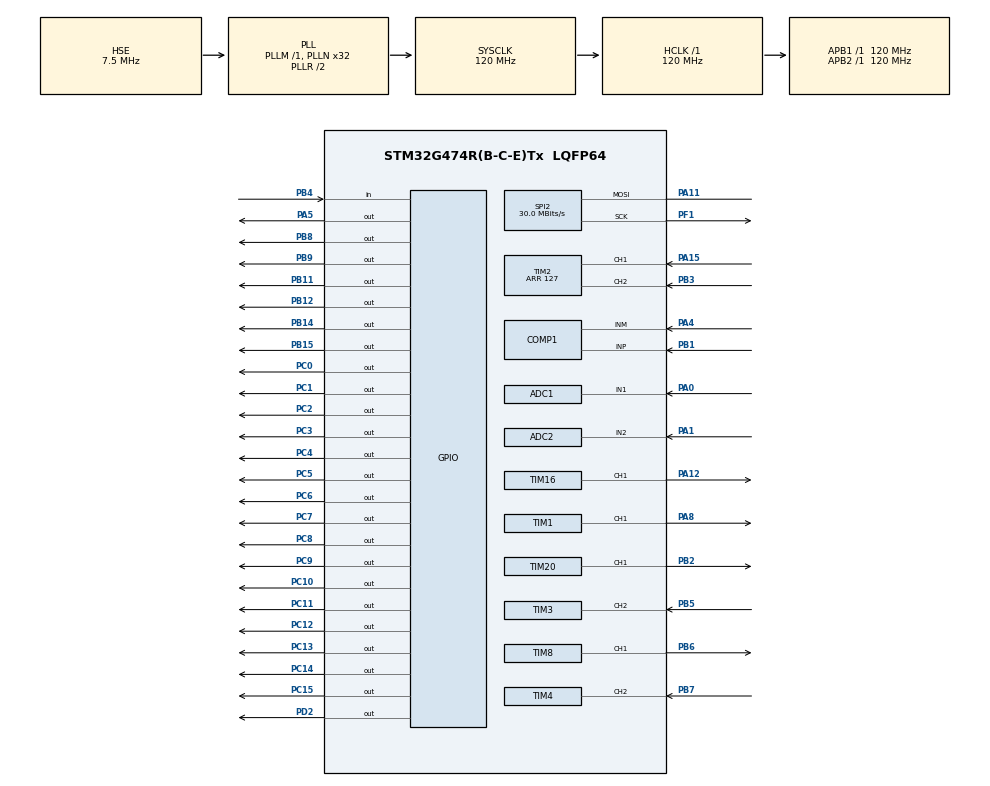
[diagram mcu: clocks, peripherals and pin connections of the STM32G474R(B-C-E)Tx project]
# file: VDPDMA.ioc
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ADC1.Channel-0\#ChannelRegularConversion=ADC_CHANNEL_1
ADC1.ClockPrescaler=ADC_CLOCK_SYNC_PCLK_DIV2
ADC1.ContinuousConvMode=DISABLE
ADC1.DMAAccessModeView=ENABLE
ADC1.DMAContinuousRequests=ENABLE
ADC1.EnableInjectedConversion=DISABLE
ADC1.ExternalTrigConv=ADC_EXTERNALTRIG_T1_CC1
ADC1.Mode=ADC_DUALMODE_REGSIMULT
ADC1.NbrOfConversion=1
ADC1.NbrOfConversionFlag=1
ADC1.OffsetNumber-0\#ChannelRegularConversion=ADC_OFFSET_NONE
ADC1.Overrun=ADC_OVR_DATA_OVERWRITTEN
ADC1.Rank-0\#ChannelRegularConversion=1
ADC1.Resolution=ADC_RESOLUTION_8B
ADC1.SamplingTime-0\#ChannelRegularConversion=ADC_SAMPLETIME_6CYCLES_5
ADC1.TwoSamplingDelay=ADC_TWOSAMPLINGDELAY_1CYCLE
ADC1.master=1
ADC2.Channel-0\#ChannelRegularConversion=ADC_CHANNEL_2
ADC2.DMAAccessModeView=ENABLE
ADC2.Mode=ADC_DUALMODE_REGSIMULT
ADC2.NbrOfConversionFlag=1
ADC2.OffsetNumber-0\#ChannelRegularConversion=ADC_OFFSET_NONE
ADC2.Rank-0\#ChannelRegularConversion=1
ADC2.Resolution=ADC_RESOLUTION_8B
ADC2.SamplingTime-0\#ChannelRegularConversion=ADC_SAMPLETIME_6CYCLES_5
COMP1.Hysteresis=COMP_HYSTERESIS_70MV
Dma.ADC1.0.Direction=DMA_PERIPH_TO_MEMORY
Dma.ADC1.0.EventEnable=DISABLE
Dma.ADC1.0.Instance=DMA1_Channel1
Dma.ADC1.0.MemDataAlignment=DMA_MDATAALIGN_HALFWORD
Dma.ADC1.0.MemInc=DMA_MINC_ENABLE
Dma.ADC1.0.Mode=DMA_CIRCULAR
Dma.ADC1.0.PeriphDataAlignment=DMA_PDATAALIGN_HALFWORD
Dma.ADC1.0.PeriphInc=DMA_PINC_DISABLE
Dma.ADC1.0.Polarity=HAL_DMAMUX_REQ_GEN_RISING
Dma.ADC1.0.Priority=DMA_PRIORITY_VERY_HIGH
Dma.ADC1.0.RequestNumber=1
Dma.ADC1.0.SignalID=NONE
Dma.ADC1.0.SyncEnable=ENABLE
Dma.ADC1.0.SyncPolarity=HAL_DMAMUX_SYNC_RISING
Dma.ADC1.0.SyncRequestNumber=1
Dma.ADC1.0.SyncSignalID=NONE
Dma.Request0=ADC1
Dma.Request1=TIM20_CH1
Dma.Request2=SPI2_TX
Dma.SPI2_TX.2.Direction=DMA_MEMORY_TO_PERIPH
Dma.SPI2_TX.2.EventEnable=DISABLE
Dma.SPI2_TX.2.Instance=DMA1_Channel2
Dma.SPI2_TX.2.MemDataAlignment=DMA_MDATAALIGN_BYTE
Dma.SPI2_TX.2.MemInc=DMA_MINC_ENABLE
Dma.SPI2_TX.2.Mode=DMA_NORMAL
Dma.SPI2_TX.2.PeriphDataAlignment=DMA_PDATAALIGN_BYTE
Dma.SPI2_TX.2.PeriphInc=DMA_PINC_DISABLE
Dma.SPI2_TX.2.Polarity=HAL_DMAMUX_REQ_GEN_RISING
Dma.SPI2_TX.2.Priority=DMA_PRIORITY_HIGH
Dma.SPI2_TX.2.RequestNumber=1
Dma.SPI2_TX.2.SignalID=NONE
Dma.SPI2_TX.2.SyncEnable=DISABLE
Dma.SPI2_TX.2.SyncPolarity=HAL_DMAMUX_SYNC_NO_EVENT
Dma.SPI2_TX.2.SyncRequestNumber=1
Dma.SPI2_TX.2.SyncSignalID=NONE
Dma.TIM20_CH1.1.Direction=DMA_MEMORY_TO_PERIPH
Dma.TIM20_CH1.1.EventEnable=DISABLE
Dma.TIM20_CH1.1.Instance=DMA2_Channel1
Dma.TIM20_CH1.1.MemDataAlignment=DMA_MDATAALIGN_HALFWORD
Dma.TIM20_CH1.1.MemInc=DMA_MINC_ENABLE
Dma.TIM20_CH1.1.Mode=DMA_NORMAL
Dma.TIM20_CH1.1.PeriphDataAlignment=DMA_PDATAALIGN_HALFWORD
Dma.TIM20_CH1.1.PeriphInc=DMA_PINC_DISABLE
Dma.TIM20_CH1.1.Polarity=HAL_DMAMUX_REQ_GEN_RISING
Dma.TIM20_CH1.1.Priority=DMA_PRIORITY_HIGH
Dma.TIM20_CH1.1.RequestNumber=1
Dma.TIM20_CH1.1.SignalID=NONE
Dma.TIM20_CH1.1.SyncEnable=DISABLE
Dma.TIM20_CH1.1.SyncPolarity=HAL_DMAMUX_SYNC_NO_EVENT
Dma.TIM20_CH1.1.SyncRequestNumber=1
Dma.TIM20_CH1.1.SyncSignalID=NONE
Mcu.Family=STM32G4
Mcu.Name=STM32G474R(B-C-E)Tx
Mcu.Package=LQFP64
NVIC.DMA1_Channel1_IRQn=true\:0\:0\:true\:false\:true\:false\:true\:true
NVIC.DMA1_Channel2_IRQn=true\:0\:0\:false\:false\:true\:false\:true\:true
NVIC.DMA2_Channel1_IRQn=true\:0\:0\:false\:false\:true\:false\:true\:true
NVIC.DMAMUX_OVR_IRQn=true\:0\:0\:false\:false\:true\:false\:true\:true
NVIC.PriorityGroup=NVIC_PRIORITYGROUP_4
NVIC.TIM1_TRG_COM_TIM17_IRQn=true\:0\:0\:false\:false\:true\:false\:true\:true
NVIC.TIM2_IRQn=true\:0\:0\:false\:false\:true\:true\:true\:true
NVIC.TIM3_IRQn=true\:0\:0\:false\:false\:true\:true\:true\:true
PA0.Mode=IN1-Single-Ended
PA0.Signal=ADC1_IN1
PA1.Mode=IN2-Single-Ended
PA1.Signal=ADC2_IN2
PA11.GPIO_Speed=GPIO_SPEED_FREQ_HIGH
PA11.Mode=Simplex_Bidirectional_Master
PA11.Signal=SPI2_MOSI
PA12.Signal=S_TIM16_CH1
PA15.GPIO_PuPd=GPIO_PULLUP
PA15.Signal=S_TIM2_CH1
PA4.Mode=INM
PA4.Signal=COMP1_INM
PA5.GPIO_ModeDefaultOutputPP=GPIO_MODE_OUTPUT_PP
PA5.GPIO_PuPd=GPIO_NOPULL
PA5.GPIO_Speed=GPIO_SPEED_FREQ_MEDIUM
PA5.PinState=GPIO_PIN_RESET
PA5.Signal=GPIO_Output
PA6.Signal=COMP1_OUT
PA8.Signal=S_TIM1_CH1
PA9.Signal=S_TIM1_CH2
PB1.Mode=INP
PB1.Signal=COMP1_INP
PB11.GPIO_ModeDefaultOutputPP=GPIO_MODE_OUTPUT_PP
PB11.GPIO_PuPd=GPIO_NOPULL
PB11.GPIO_Speed=GPIO_SPEED_FREQ_LOW
PB11.PinState=GPIO_PIN_SET
PB11.Signal=GPIO_Output
PB12.GPIO_ModeDefaultOutputPP=GPIO_MODE_OUTPUT_PP
PB12.GPIO_PuPd=GPIO_NOPULL
PB12.GPIO_Speed=GPIO_SPEED_FREQ_LOW
PB12.PinState=GPIO_PIN_SET
PB12.Signal=GPIO_Output
PB14.GPIO_ModeDefaultOutputPP=GPIO_MODE_OUTPUT_PP
PB14.GPIO_PuPd=GPIO_NOPULL
PB14.GPIO_Speed=GPIO_SPEED_FREQ_LOW
PB14.PinState=GPIO_PIN_SET
PB14.Signal=GPIO_Output
PB15.GPIO_ModeDefaultOutputPP=GPIO_MODE_OUTPUT_PP
PB15.GPIO_PuPd=GPIO_NOPULL
PB15.GPIO_Speed=GPIO_SPEED_FREQ_LOW
PB15.PinState=GPIO_PIN_SET
PB15.Signal=GPIO_Output
PB2.GPIO_ModeDefaultPP=GPIO_MODE_AF_PP
PB2.GPIO_PuPd=GPIO_NOPULL
PB2.GPIO_Speed=GPIO_SPEED_FREQ_HIGH
PB2.Mode=PWM Generation1 CH1
PB2.Signal=TIM20_CH1
PB3.GPIO_PuPd=GPIO_PULLUP
PB3.Signal=S_TIM2_CH2
PB4.GPIO_PuPd=GPIO_PULLUP
PB4.Signal=GPIO_Input
PB5.Signal=S_TIM3_CH2
PB6.Signal=S_TIM8_CH1
PB7.Signal=S_TIM4_CH2
PB8-BOOT0.GPIO_Speed=GPIO_SPEED_FREQ_VERY_HIGH
PB8-BOOT0.Signal=GPIO_Output
PB9.GPIO_FM9=SYSCFG_FASTMODEPLUS_PB9
PB9.GPIO_Speed=GPIO_SPEED_FREQ_VERY_HIGH
PB9.PinState=GPIO_PIN_SET
PB9.Signal=GPIO_Output
PC0.GPIO_ModeDefaultOutputPP=GPIO_MODE_OUTPUT_PP
PC0.GPIO_PuPd=GPIO_NOPULL
PC0.GPIO_Speed=GPIO_SPEED_FREQ_LOW
PC0.PinState=GPIO_PIN_RESET
PC0.Signal=GPIO_Output
PC1.GPIO_ModeDefaultOutputPP=GPIO_MODE_OUTPUT_PP
PC1.GPIO_PuPd=GPIO_NOPULL
PC1.GPIO_Speed=GPIO_SPEED_FREQ_LOW
PC1.PinState=GPIO_PIN_RESET
PC1.Signal=GPIO_Output
PC10.GPIO_ModeDefaultOutputPP=GPIO_MODE_OUTPUT_PP
PC10.GPIO_PuPd=GPIO_NOPULL
PC10.GPIO_Speed=GPIO_SPEED_FREQ_LOW
PC10.PinState=GPIO_PIN_RESET
PC10.Signal=GPIO_Output
PC11.GPIO_ModeDefaultOutputPP=GPIO_MODE_OUTPUT_PP
PC11.GPIO_PuPd=GPIO_NOPULL
PC11.GPIO_Speed=GPIO_SPEED_FREQ_LOW
PC11.PinState=GPIO_PIN_RESET
PC11.Signal=GPIO_Output
PC12.GPIO_ModeDefaultOutputPP=GPIO_MODE_OUTPUT_PP
PC12.GPIO_PuPd=GPIO_NOPULL
PC12.GPIO_Speed=GPIO_SPEED_FREQ_LOW
PC12.PinState=GPIO_PIN_RESET
PC12.Signal=GPIO_Output
PC13.GPIO_ModeDefaultOutputPP=GPIO_MODE_OUTPUT_PP
PC13.GPIO_PuPd=GPIO_NOPULL
PC13.GPIO_Speed=GPIO_SPEED_FREQ_LOW
PC13.PinState=GPIO_PIN_RESET
PC13.Signal=GPIO_Output
PC14-OSC32_IN.Signal=GPIO_Output
PC15-OSC32_OUT.GPIO_ModeDefaultOutputPP=GPIO_MODE_OUTPUT_PP
PC15-OSC32_OUT.GPIO_PuPd=GPIO_NOPULL
PC15-OSC32_OUT.GPIO_Speed=GPIO_SPEED_FREQ_LOW
PC15-OSC32_OUT.PinState=GPIO_PIN_RESET
PC15-OSC32_OUT.Signal=GPIO_Output
PC2.GPIO_ModeDefaultOutputPP=GPIO_MODE_OUTPUT_PP
PC2.GPIO_PuPd=GPIO_NOPULL
PC2.GPIO_Speed=GPIO_SPEED_FREQ_LOW
PC2.PinState=GPIO_PIN_RESET
PC2.Signal=GPIO_Output
PC3.GPIO_ModeDefaultOutputPP=GPIO_MODE_OUTPUT_PP
PC3.GPIO_PuPd=GPIO_NOPULL
PC3.GPIO_Speed=GPIO_SPEED_FREQ_LOW
PC3.PinState=GPIO_PIN_RESET
PC3.Signal=GPIO_Output
PC4.GPIO_ModeDefaultOutputPP=GPIO_MODE_OUTPUT_PP
PC4.GPIO_PuPd=GPIO_NOPULL
PC4.GPIO_Speed=GPIO_SPEED_FREQ_LOW
PC4.PinState=GPIO_PIN_RESET
PC4.Signal=GPIO_Output
PC5.GPIO_ModeDefaultOutputPP=GPIO_MODE_OUTPUT_PP
PC5.GPIO_PuPd=GPIO_NOPULL
PC5.GPIO_Speed=GPIO_SPEED_FREQ_LOW
PC5.PinState=GPIO_PIN_RESET
PC5.Signal=GPIO_Output
PC6.GPIO_ModeDefaultOutputPP=GPIO_MODE_OUTPUT_PP
PC6.GPIO_PuPd=GPIO_NOPULL
PC6.GPIO_Speed=GPIO_SPEED_FREQ_LOW
PC6.PinState=GPIO_PIN_RESET
PC6.Signal=GPIO_Output
PC7.GPIO_ModeDefaultOutputPP=GPIO_MODE_OUTPUT_PP
PC7.GPIO_PuPd=GPIO_NOPULL
PC7.GPIO_Speed=GPIO_SPEED_FREQ_LOW
PC7.PinState=GPIO_PIN_RESET
PC7.Signal=GPIO_Output
PC8.GPIO_ModeDefaultOutputPP=GPIO_MODE_OUTPUT_PP
PC8.GPIO_PuPd=GPIO_NOPULL
PC8.GPIO_Speed=GPIO_SPEED_FREQ_LOW
PC8.PinState=GPIO_PIN_RESET
PC8.Signal=GPIO_Output
PC9.GPIO_ModeDefaultOutputPP=GPIO_MODE_OUTPUT_PP
PC9.GPIO_PuPd=GPIO_NOPULL
PC9.GPIO_Speed=GPIO_SPEED_FREQ_LOW
PC9.PinState=GPIO_PIN_RESET
PC9.Signal=GPIO_Output
PD2.PinState=GPIO_PIN_SET
PD2.Signal=GPIO_Output
PF0-OSC_IN.Mode=HSE-External-Clock-Source
PF0-OSC_IN.Signal=RCC_OSC_IN
PF1-OSC_OUT.GPIO_Speed=GPIO_SPEED_FREQ_HIGH
PF1-OSC_OUT.Mode=Simplex_Bidirectional_Master
PF1-OSC_OUT.Signal=SPI2_SCK
ProjectManager.HeapSize=0x200
ProjectManager.StackSize=0x400
ProjectManager.TargetToolchain=STM32CubeIDE
RCC.ADC12CLockSelection=RCC_ADC12CLKSOURCE_PLL
RCC.ADC12Freq_Value=60000000
RCC.ADC345Freq_Value=120000000
RCC.AHBFreq_Value=120000000
RCC.APB1Freq_Value=120000000
RCC.APB1TimFreq_Value=120000000
RCC.APB2Freq_Value=120000000
RCC.APB2TimFreq_Value=120000000
RCC.CortexFreq_Value=120000000
RCC.EXTERNAL_CLOCK_VALUE=12288000
RCC.EnbaleCSS=true
RCC.HCLKFreq_Value=120000000
RCC.HSE_VALUE=7500000
RCC.HSI48_VALUE=48000000
RCC.HSI_VALUE=16000000
RCC.LSE_VALUE=32768
RCC.PLLN=32
RCC.PLLP=RCC_PLLP_DIV4
RCC.PLLSourceVirtual=RCC_PLLSOURCE_HSE
RCC.PREFETCH_ENABLE=1
RCC.SYSCLKFreq_VALUE=120000000
RCC.SYSCLKSource=RCC_SYSCLKSOURCE_PLLCLK
RCC.USBFreq_Value=120000000
RCC.VCOOutputFreq_Value=240000000
SH.S_TIM16_CH1.0=TIM16_CH1,PWM Generation1 CH1
SH.S_TIM1_CH1.0=TIM1_CH1,PWM Generation1 CH1
SH.S_TIM1_CH2.0=TIM1_CH2
SH.S_TIM2_CH1.0=TIM2_CH1,Encoder_Interface
SH.S_TIM2_CH2.0=TIM2_CH2,Encoder_Interface
SH.S_TIM3_CH2.0=TIM3_CH2,TriggerSource_TI2FP2
SH.S_TIM4_CH2.0=TIM4_CH2,TriggerSource_TI2FP2
SH.S_TIM8_CH1.0=TIM8_CH1,PWM Generation1 CH1
SPI2.BaudRatePrescaler=SPI_BAUDRATEPRESCALER_4
SPI2.CalculateBaudRate=30.0 MBits/s
SPI2.DataSize=SPI_DATASIZE_8BIT
SPI2.Direction=SPI_DIRECTION_1LINE
SPI2.Mode=SPI_MODE_MASTER
SPI2.VirtualType=VM_MASTER
SYS.VoltageScaling=SYSCFG_VREFBUF_VOLTAGE_SCALE2
TIM1.AutoReloadPreload=TIM_AUTORELOAD_PRELOAD_ENABLE
TIM1.Channel-PWM\ Generation1\ CH1=TIM_CHANNEL_1
TIM1.OCMode_PWM-PWM\ Generation1\ CH1=TIM_OCMODE_PWM2
TIM1.PeriodNoDither=31
TIM1.PulseNoDither_1=15
TIM1.RepetitionCounter=255
TIM1.TIM_MasterOutputTrigger=TIM_TRGO_RESET
TIM16.AutoReloadPreload=TIM_AUTORELOAD_PRELOAD_ENABLE
TIM16.Channel=TIM_CHANNEL_1
TIM16.OCMode_PWM=TIM_OCMODE_PWM2
TIM16.PeriodNoDither=260
TIM16.Prescaler=170
TIM16.PulseNoDither_1=130
TIM16.RepetitionCounter=191
TIM2.PeriodNoDither=127
TIM2.TIM_MasterOutputTrigger=TIM_TRGO_RESET
TIM20.Channel-PWM\ Generation1\ CH1=TIM_CHANNEL_1
TIM20.OCIdleState_1=TIM_OCIDLESTATE_RESET
TIM20.OCMode_PWM-PWM\ Generation1\ CH1=TIM_OCMODE_PWM2
TIM20.OCPolarity_1=TIM_OCPOLARITY_LOW
TIM20.PeriodNoDither=17
TIM20.PulseNoDither_1=8
TIM20.RepetitionCounter=255
TIM20.TIM_MasterOutputTrigger=TIM_TRGO_OC1
TIM3.Channel-Input_Capture2_from_TI2_Remap_TIM3=TIM_CHANNEL_2
TIM3.Channel-PWM\ Generation1\ No\ Output=TIM_CHANNEL_1
TIM3.ICPolarity_CH2=TIM_INPUTCHANNELPOLARITY_FALLING
TIM3.OCMode_PWM-PWM\ Generation1\ No\ Output=TIM_OCMODE_PWM2
TIM3.PulseNoDither_1=12000
TIM3.TIM3_TI2_REMAP-Input_Capture2_from_TI2_Remap_TIM3=TIM_TIM3_TI2_COMP1
TIM4.Channel-Input_Capture2_from_TI2_Remap_TIM4=TIM_CHANNEL_2
TIM4.Channel-PWM\ Generation1\ No\ Output=TIM_CHANNEL_1
TIM4.ICFilter_CH2=0
TIM4.ICPolarity_CH2=TIM_INPUTCHANNELPOLARITY_RISING
TIM4.OCFastMode_PWM-PWM\ Generation1\ No\ Output=TIM_OCFAST_DISABLE
TIM4.OCMode_PWM-PWM\ Generation1\ No\ Output=TIM_OCMODE_PWM2
TIM4.PeriodNoDither=3800
TIM4.Prescaler=0
TIM4.PulseNoDither_1=1148
TIM4.TIM4_TI2_REMAP-Input_Capture2_from_TI2_Remap_TIM4=TIM_TIM4_TI2_COMP1
TIM4.TIM_MasterOutputTrigger=TIM_TRGO_OC1REF
TIM5.PeriodNoDither=160
TIM8.Channel-PWM\ Generation1\ CH1=TIM_CHANNEL_1
TIM8.OCMode_PWM-PWM\ Generation1\ CH1=TIM_OCMODE_PWM2
TIM8.PeriodNoDither=258
TIM8.Prescaler=17
TIM8.PulseNoDither_1=150
TIM8.RepetitionCounter=191
TIM8.TIM_MasterOutputTrigger=TIM_TRGO_OC1
VP_TIM16_VS_ClockSourceINT.Mode=Enable_Timer
VP_TIM16_VS_OPM.Mode=OPM_bit
VP_TIM1_VS_ClockSourceINT.Mode=Internal
VP_TIM1_VS_ClockSourceITR.Mode=TriggerSource_ITR3
VP_TIM1_VS_ControllerModeCombinedResetTrigger.Mode=Combined_Reset_Trigger_Mode
VP_TIM1_VS_OPM.Mode=OPM_bit
VP_TIM20_VS_ClockSourceINT.Mode=Internal
VP_TIM20_VS_ClockSourceITR.Mode=TriggerSource_ITR5
VP_TIM20_VS_ControllerModeCombinedResetTrigger.Mode=Combined_Reset_Trigger_Mode
VP_TIM20_VS_OPM.Mode=OPM_bit
VP_TIM3_VS_ControllerModeCombinedResetTrigger.Mode=Combined_Reset_Trigger_Mode
VP_TIM3_VS_NoInput2.Mode=Input_Capture2_from_TI2_Remap_TIM3
VP_TIM3_VS_OPM.Mode=OPM_bit
VP_TIM3_VS_no_output1.Mode=PWM Generation1 No Output
VP_TIM4_VS_ClockSourceINT.Mode=Internal
VP_TIM4_VS_ControllerModeCombinedResetTrigger.Mode=Combined_Reset_Trigger_Mode
VP_TIM4_VS_NoInput2.Mode=Input_Capture2_from_TI2_Remap_TIM4
VP_TIM4_VS_OPM.Mode=OPM_bit
VP_TIM4_VS_no_output1.Mode=PWM Generation1 No Output
VP_TIM5_VS_OPM.Mode=OPM_bit
VP_TIM8_VS_ClockSourceINT.Mode=Internal
VP_TIM8_VS_OPM.Mode=OPM_bit
VREF+.Mode=InternalMode
VREF+.Signal=VREFBUF_OUT
board=custom

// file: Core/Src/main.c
/* USER CODE BEGIN Header */
/**
 ******************************************************************************
 * @file           : main.c
 * @brief          : Main program body
 ******************************************************************************
 * @attention
 *
 * Copyright (c) 2022 STMicroelectronics.
 * All rights reserved.
 *
 * This software is licensed under terms that can be found in the LICENSE file
 * in the root directory of this software component.
 * If no LICENSE file comes with this software, it is provided AS-IS.
 *
 ******************************************************************************
 */
/* USER CODE END Header */
#include "main.h"
#include "adc.h"
#include "comp.h"
#include "dma.h"
#include "spi.h"
#include "tim.h"
#include "gpio.h"

/* USER CODE BEGIN Includes */
#include "vdp.h"
#include "math.h"
/* USER CODE END Includes */

/* USER CODE BEGIN PD */

#define BLANKING_LINES (28 + (260 - 249))
#define FRAME_LINES 261

#define FIRST_VISIBLE_LINE 40
#define VISIBLE_LINES 192
#define LAST_VISIBLE_LINE (FIRST_VISIBLE_LINE + VISIBLE_LINES - 1)
#define BOTTOM_BORDER 32

#define PIXELS_PER_LINE 256

#define RGB_BUF_LEN (VISIBLE_LINES * PIXELS_PER_LINE)
#ifdef PAR_TFT
	#define RGB_BUF_CHUNKS 1
#else
	#define RGB_BUF_CHUNKS 4
#endif

#define RGB_BUF_CHUNK_BYTES (RGB_BUF_LEN / RGB_BUF_CHUNKS * 2)

#define CAPTURE_STATE_SEEKING_SYNC 0
#define CAPTURE_STATE_FOUND_SYNC 1
#define CAPTURE_STATE_START_GRAB 2
#define CAPTURE_STATE_GRABBING 3
#define CAPTURE_STATE_GRABBED 4
#define CAPTURE_STATE_IDLE 5

#define DMA_CAPTURE_STATE_IDLE 0
#define DMA_STATE_START 1
#define DMA_STATE_RUNNING 2
#define DMA_STATE_CHUNK_COMPLETE 3

#define SETUP_STATE_IDLE 0
#define SETUP_STATE_INIT 1
#define SETUP_STATE_SELECT_COLOUR 2
#define SETUP_STATE_INIT_Y 3
#define SETUP_STATE_TUNE_Y 4
#define SETUP_STATE_INIT_RY 5
#define SETUP_STATE_TUNE_RY 6
#define SETUP_STATE_TUNE_SAMPLE_TIME 7
#define SETUP_STATE_CANCEL 8

#define BUTTONEVENT_CLICK 1
#define BUTTON_EVENT_LONG_PRESS 2

/* USER CODE END PD */

void SystemClock_Config(void);
/* USER CODE BEGIN PFP */
extern void mysetup();
extern int mymain(uint16_t);
extern void pushpixel(uint16_t);

/* USER CODE END PFP */

/* USER CODE BEGIN 0 */

volatile uint16_t rgbBuf[RGB_BUF_LEN];
volatile uint32_t rgbBufIdx;
uint8_t rgbBufchunk;

volatile uint32_t adcbuf[512];
volatile uint32_t adc3buf[512];
volatile int16_t line;
volatile uint8_t captureState;
volatile uint8_t frameReady;
volatile uint8_t dmaState;

volatile uint16_t pix;

uint8_t encoderChanged;
uint8_t encoderPosition;
uint8_t lastPressed;
uint32_t encoderButtonChangedTicks;
uint8_t setupColour;

uint8_t raisedClickedEvent;
uint8_t raisedLongPressEvent;

uint8_t encoderClickedEvent;
uint8_t encoderLongPressEvent;

uint8_t setupState;

int _write(int file, char *ptr, int len) {
	int DataIdx;
	for (DataIdx = 0; DataIdx < len; DataIdx++) {
		ITM_SendChar(*ptr++);
	}
	return len;
}

/* USER CODE END 0 */

int main(void)
{

  /* MCU Configuration--------------------------------------------------------*/

  /* Reset of all peripherals, Initializes the Flash interface and the Systick. */
  HAL_Init();

  /* Configure the system clock */
  SystemClock_Config();

  /* Initialize all configured peripherals */
  MX_GPIO_Init();
  MX_DMA_Init();
  MX_TIM8_Init();
  MX_TIM1_Init();
  MX_ADC1_Init();
  MX_ADC2_Init();
  MX_TIM3_Init();
  MX_TIM2_Init();
  MX_TIM4_Init();
  MX_COMP1_Init();
  MX_TIM5_Init();
  MX_TIM16_Init();
  MX_TIM20_Init();
  MX_SPI2_Init();
  /* USER CODE BEGIN 2 */
	GPIOB->MODER = (GPIOB->MODER & 0xFFFFFFCF) | 0x00000010;
	mysetup();

	initBitMap();
	initColorMaps(0.43/0.47, 1.71);

#ifndef PAR_TFT
	swapRGBBytes();
#endif

	HAL_TIM_RegisterCallback(&htim3, HAL_TIM_OC_DELAY_ELAPSED_CB_ID,
			VSyncCallback);

	HAL_SPI_RegisterCallback(&hspi2, HAL_SPI_TX_COMPLETE_CB_ID,
			SPIFullCallback);
	HAL_DMA_RegisterCallback(&hdma_tim20_ch1, HAL_DMA_XFER_CPLT_CB_ID,
			GPIODMAComplete);

	HAL_ADC_RegisterCallback(&hadc1, HAL_ADC_CONVERSION_COMPLETE_CB_ID,
			ADCCallback);
	HAL_ADC_RegisterCallback(&hadc1, HAL_ADC_CONVERSION_HALF_CB_ID,
			ADCCallback);

	HAL_COMP_Start(&hcomp1);
	HAL_TIM_Base_Start(&htim4); // hysnc
	HAL_TIM_Base_Start(&htim1); // sample clock
	HAL_TIM_Base_Start_IT(&htim3); // vsync

	HAL_TIM_Base_Start(&htim8); // Parallel TFT DMA line clock
	HAL_TIM_Base_Start(&htim20); // Parallel TFT DMA pixel clock

	HAL_TIM_Base_Start(&htim2);

	__HAL_TIM_ENABLE_DMA(&htim20, TIM_DMA_CC1);

	if (HAL_TIM_OnePulse_Start(&htim4, TIM_CHANNEL_1) != HAL_OK) {
		/* Starting Error */
		Error_Handler();
	}
	if (HAL_TIM_OnePulse_Start(&htim1, TIM_CHANNEL_1) != HAL_OK) {
		/* Starting Error */
		Error_Handler();
	}
	if (HAL_TIM_OnePulse_Start_IT(&htim3, TIM_CHANNEL_1) != HAL_OK) {
		/* Starting Error */
		Error_Handler();
	}

	if (HAL_TIM_OnePulse_Start_IT(&htim20, TIM_CHANNEL_1) != HAL_OK) {
		/* Starting Error */
		Error_Handler();
	}
	HAL_TIM_OnePulse_Start(&htim8, TIM_CHANNEL_1);

	HAL_TIM_Encoder_Start(&htim2, TIM_CHANNEL_ALL);

	HAL_ADCEx_MultiModeStart_DMA(&hadc1, adcbuf, 512);

	line = BLANKING_LINES; // Line 0 is when we detect vsync at the end of a frame
	captureState = CAPTURE_STATE_SEEKING_SYNC;
	dmaState = DMA_CAPTURE_STATE_IDLE;
	setupState = SETUP_STATE_IDLE;
	encoderPosition = 0;
	encoderChanged = 0;
	lastPressed = GPIO_PIN_SET;
	encoderButtonChangedTicks = 0;
	encoderClickedEvent = 0;
	encoderLongPressEvent = 0;
	setupColour = 0;

	// set to true otherwise there will be a spurious event raised at startup
	raisedClickedEvent = 1;
	raisedLongPressEvent = 0;

	rgbBufIdx = 0;
	rgbBufchunk = 0;
	pix = 0;
	frameReady = 0;

	GPIOB->MODER = (GPIOB->MODER & 0xFFFFFFCF) | 0x00000010;

  /* USER CODE END 2 */

  /* Infinite loop */
	while (1) {

    /* USER CODE BEGIN 3 */

		handleEncoderInputs();
		updateSetupState();
		processSetupState();

		switch (captureState) {

		case CAPTURE_STATE_SEEKING_SYNC:
			break;

		case CAPTURE_STATE_FOUND_SYNC:
			captureState = CAPTURE_STATE_START_GRAB;
			break;

		case CAPTURE_STATE_GRABBED:
			captureState = CAPTURE_STATE_IDLE;
			frameReady = 1;
			break;

		case CAPTURE_STATE_IDLE:

			if (frameReady == 0) {
				captureState = CAPTURE_STATE_START_GRAB;
				pix=0;
			}

			break;

		default:
			break;
		}

		switch (dmaState) {

		case DMA_CAPTURE_STATE_IDLE:
			if (frameReady == 1) {
				dmaState = DMA_STATE_START;
			}
			break;

		case DMA_STATE_START:

#ifndef PAR_TFT
			while(SPI2->SR & SPI_SR_BSY) {
				__NOP();
			}
			vsync();
			while(SPI2->SR & SPI_SR_BSY) {
				__NOP();
			}
#else
			vsync();
#endif

			rgbBufchunk = 0;
			rgbBufIdx = 0;
			dmaState = DMA_STATE_RUNNING;
#ifndef PAR_TFT
			HAL_SPI_Transmit_DMA(&hspi2, (uint8_t *)&rgbBuf, RGB_BUF_CHUNK_BYTES);
#else
			TIM20->DIER &= ~ TIM_DIER_CC1DE;
			TIM20->DIER |= TIM_DIER_CC1DE;
			HAL_DMA_Start_IT(&hdma_tim20_ch1, (uint32_t)rgbBuf, (uint32_t)&GPIOC->ODR, RGB_BUF_CHUNK_BYTES/2);

			GPIOB->MODER = (GPIOB->MODER & 0xFFFFFFCF) | 0x00000020;

			__HAL_TIM_ENABLE(&htim8);
#endif
			break;

		case DMA_STATE_RUNNING:
			break;

		case DMA_STATE_CHUNK_COMPLETE:
			rgbBufchunk++;

			if (rgbBufchunk == RGB_BUF_CHUNKS) {
				dmaState = DMA_CAPTURE_STATE_IDLE;
				frameReady = 0;
			} else {
				dmaState = DMA_STATE_RUNNING;
#ifndef PAR_TFT
				HAL_SPI_Transmit_DMA(&hspi2, (uint8_t *)&(rgbBuf[rgbBufchunk * RGB_BUF_LEN / RGB_BUF_CHUNKS]), RGB_BUF_CHUNK_BYTES);
#else
				TIM20->DIER &= ~ TIM_DIER_CC1DE;
				TIM20->DIER |= TIM_DIER_CC1DE;
				HAL_DMA_Start_IT(&hdma_tim20_ch1, (uint32_t)&rgbBuf[rgbBufchunk * (RGB_BUF_LEN / RGB_BUF_CHUNKS)], (uint32_t)&GPIOC->ODR, RGB_BUF_CHUNK_BYTES/2);
				GPIOB->MODER = (GPIOB->MODER & 0xFFFFFFCF) | 0x00000020;
				__HAL_TIM_ENABLE(&htim8);
#endif
				}
			break;

		default:
			break;

		}
	}
  /* USER CODE END 3 */
}

void SystemClock_Config(void)
{
  RCC_OscInitTypeDef RCC_OscInitStruct = {0};
  RCC_ClkInitTypeDef RCC_ClkInitStruct = {0};

  /** Configure the main internal regulator output voltage
  */
  HAL_PWREx_ControlVoltageScaling(PWR_REGULATOR_VOLTAGE_SCALE1);

  /** Initializes the RCC Oscillators according to the specified parameters
  * in the RCC_OscInitTypeDef structure.
  */
  RCC_OscInitStruct.OscillatorType = RCC_OSCILLATORTYPE_HSE;
  RCC_OscInitStruct.HSEState = RCC_HSE_BYPASS;
  RCC_OscInitStruct.PLL.PLLState = RCC_PLL_ON;
  RCC_OscInitStruct.PLL.PLLSource = RCC_PLLSOURCE_HSE;
  RCC_OscInitStruct.PLL.PLLM = RCC_PLLM_DIV1;
  RCC_OscInitStruct.PLL.PLLN = 32;
  RCC_OscInitStruct.PLL.PLLP = RCC_PLLP_DIV4;
  RCC_OscInitStruct.PLL.PLLQ = RCC_PLLQ_DIV2;
  RCC_OscInitStruct.PLL.PLLR = RCC_PLLR_DIV2;
  if (HAL_RCC_OscConfig(&RCC_OscInitStruct) != HAL_OK)
  {
    Error_Handler();
  }

  /** Initializes the CPU, AHB and APB buses clocks
  */
  RCC_ClkInitStruct.ClockType = RCC_CLOCKTYPE_HCLK|RCC_CLOCKTYPE_SYSCLK
                              |RCC_CLOCKTYPE_PCLK1|RCC_CLOCKTYPE_PCLK2;
  RCC_ClkInitStruct.SYSCLKSource = RCC_SYSCLKSOURCE_PLLCLK;
  RCC_ClkInitStruct.AHBCLKDivider = RCC_SYSCLK_DIV1;
  RCC_ClkInitStruct.APB1CLKDivider = RCC_HCLK_DIV1;
  RCC_ClkInitStruct.APB2CLKDivider = RCC_HCLK_DIV1;

  if (HAL_RCC_ClockConfig(&RCC_ClkInitStruct, FLASH_LATENCY_3) != HAL_OK)
  {
    Error_Handler();
  }

  /** Enables the Clock Security System
  */
  HAL_RCC_EnableCSS();
}

/* USER CODE BEGIN 4 */

void ADCCallback(ADC_HandleTypeDef *hadc) {
	register uint8_t y;
	register uint8_t ry;
	register uint16_t bits;
	register uint8_t b;
	register uint16_t pixel = pix;
	register uint16_t i = PIXELS_PER_LINE;
	line++;
	if (line > FRAME_LINES)
		line = 1;

	if (captureState != CAPTURE_STATE_GRABBING)
		return;

	if (line > FIRST_VISIBLE_LINE && line < (LAST_VISIBLE_LINE + 2)) { // don't capture the previous line - it was part of frame blanking

		while (i > 0) {

			y = (((uint16_t*) adcbuf)[pixel] & 0xff) >> (8 - ADC_RESOLUTION_BITS);
			ry = (((uint16_t*) adcbuf)[pixel] >> (16 - ADC_RESOLUTION_BITS));

			bits = YMap[y] & RYMap[ry];

			b = bitMap[bits >> 8];
			if(b == 0) {
				b = bitMap[bits & 0xff];
			} else {
				b+=8;
			}

			if (rgbBufIdx < RGB_BUF_LEN) {

				rgbBuf[rgbBufIdx] = rgbMap[b];
				rgbBufIdx++;
			}
			pixel++;
			i--;
		}
	}

	if (pixel >= 512) {
		pixel = 0;
	}

	pix = pixel;
}

void VSyncCallback(TIM_HandleTypeDef *htim) {

	line = LAST_VISIBLE_LINE + BOTTOM_BORDER;
	pix = 0;

	switch (captureState) {
	case CAPTURE_STATE_SEEKING_SYNC:
		captureState = CAPTURE_STATE_FOUND_SYNC;
		break;

	case CAPTURE_STATE_START_GRAB:
		captureState = CAPTURE_STATE_GRABBING;
		rgbBufIdx = 0;
		HAL_ADCEx_MultiModeStart_DMA(&hadc1, adcbuf, 512);
		break;

	case CAPTURE_STATE_GRABBING:
		HAL_ADCEx_MultiModeStop_DMA(&hadc1);
		captureState = CAPTURE_STATE_GRABBED;

	default:
		break;

	}
}

void SPIFullCallback(SPI_HandleTypeDef *spi) {
	dmaState = DMA_STATE_CHUNK_COMPLETE;
}

void GPIODMAComplete(DMA_HandleTypeDef *dma) {
	dmaState = DMA_STATE_CHUNK_COMPLETE;
	__HAL_TIM_DISABLE(&htim8);
	GPIOB->MODER = (GPIOB->MODER & 0xFFFFFFCF) | 0x00000010;
}

void handleEncoderInputs() {
	encoderLongPressEvent = 0;
	encoderClickedEvent = 0;

	uint8_t pressed = HAL_GPIO_ReadPin(ENCODER_PORT, ENCODER_PIN) == GPIO_PIN_RESET;

	if (((htim2.Instance->CNT & 0xff) >> 1) != encoderPosition) {
		encoderPosition = (htim2.Instance->CNT & 0XFF) >> 1;
		encoderChanged = 1;
	} else {
		encoderChanged = 0;
	}

	if (pressed != lastPressed) {
		lastPressed = pressed;
		encoderButtonChangedTicks = HAL_GetTick();
	}

	uint32_t deltaT = HAL_GetTick() - encoderButtonChangedTicks;

	if (pressed && deltaT > ENCODER_BUTTON_DEBOUNCE) {
		raisedClickedEvent = 0;
	}

	if (!pressed && deltaT > ENCODER_BUTTON_DEBOUNCE) {
		if(raisedClickedEvent == 0) {
			raisedClickedEvent = 1;
			if(!raisedLongPressEvent) {
				// only actually raise the event if it is not following a long click
				encoderClickedEvent = 1;
			}
			raisedLongPressEvent = 0;
		}
	} else if (pressed && deltaT > ENCODER_BUTTON_LONG_PRESS) {
		if(raisedLongPressEvent == 0) {
			raisedLongPressEvent = 1;
			encoderLongPressEvent = 1;
		}
	}
}

void updateSetupState() {

	if (encoderLongPressEvent) {
		if(setupState == SETUP_STATE_IDLE) {
			setupState = SETUP_STATE_TUNE_SAMPLE_TIME;
		} else {
			setupState = SETUP_STATE_CANCEL;
		}
	} else {
		if (encoderClickedEvent) {
			switch (setupState) {
			case SETUP_STATE_IDLE:
				setupState = SETUP_STATE_INIT;
				break;
			case SETUP_STATE_SELECT_COLOUR:
				setupState = SETUP_STATE_INIT_Y;
				break;
			case SETUP_STATE_TUNE_Y:
				setupState = SETUP_STATE_INIT_RY;
				break;
			case SETUP_STATE_TUNE_RY:
				setupState = SETUP_STATE_SELECT_COLOUR;
				break;
			default:
				break;
			}
		}
	}
}

void processSetupState() {

	switch(setupState) {
	case SETUP_STATE_CANCEL:
		cancelSetup();
		setupState = SETUP_STATE_IDLE;
		break;
	case SETUP_STATE_INIT:
		initSetup();
		setupState = SETUP_STATE_SELECT_COLOUR;
		htim2.Instance->CNT = 0;
		encoderPosition = 0;
		setupColour = (encoderPosition % 16);
		initSetupColour(setupColour);
		break;
		// no break
	case SETUP_STATE_SELECT_COLOUR:
		if(encoderChanged) {
			setupColour = (encoderPosition % 16);
			initSetupColour(setupColour);
		}
		break;
	case SETUP_STATE_INIT_Y:
		htim2.Instance->CNT = ADC_RESOLUTION_STEPS / 2;
		setupState = SETUP_STATE_TUNE_Y;
		break;
	case SETUP_STATE_TUNE_Y:
		if(encoderChanged) {
			tuneY(setupColour, encoderPosition % ADC_RESOLUTION_STEPS);
		}
		break;
	case SETUP_STATE_INIT_RY:
		htim2.Instance->CNT = ADC_RESOLUTION_STEPS / 2;
		setupState = SETUP_STATE_TUNE_RY;
		break;
	case SETUP_STATE_TUNE_RY:
		if(encoderChanged) {
			tuneRY(setupColour, encoderPosition % ADC_RESOLUTION_STEPS);
		}
		break;
	case SETUP_STATE_TUNE_SAMPLE_TIME:
		// adjust where the ADC sampling starts
		htim4.Instance->CCR1 = 1148 + (encoderPosition % 16) - 8;
		break;
	default:
		break;
	}
}

void cancelSetup() {
	disableSetupGUI();
}

void initSetup() {
	enableSetupGUI();
}

/* USER CODE END 4 */

void Error_Handler(void)
{
	__disable_irq();
	while (1) {
	}
}
